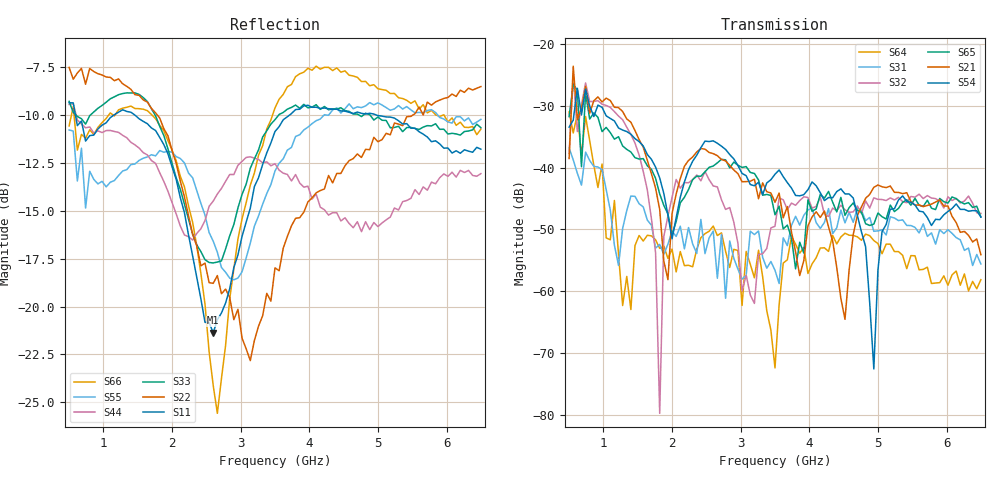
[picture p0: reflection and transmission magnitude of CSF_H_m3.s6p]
!Keysight Technologies,M9804A,MY58100912,A.14.10.03
!Date: Thursday, April 27, 2023 10:28:33
!Correction: S11(C  6-Port  )
!S12(C  6-Port  )
!S13(C  6-Port  )
!S14(C  6-Port  )
!S15(C  6-Port  )
!S16(C  6-Port  )
!S21(C  6-Port  )
!S22(C  6-Port  )
!S23(C  6-Port  )
!S24(C  6-Port  )
!S25(C  6-Port  )
!S26(C  6-Port  )
!S31(C  6-Port  )
!S32(C  6-Port  )
!S33(C  6-Port  )
!S34(C  6-Port  )
!S35(C  6-Port  )
!S36(C  6-Port  )
!S41(C  6-Port  )
!S42(C  6-Port  )
!S43(C  6-Port  )
!S44(C  6-Port  )
!S45(C  6-Port  )
!S46(C  6-Port  )
!S51(C  6-Port  )
!S52(C  6-Port  )
!S53(C  6-Port  )
!S54(C  6-Port  )
!S55(C  6-Port  )
!S56(C  6-Port  )
!S61(C  6-Port  )
!S62(C  6-Port  )
!S63(C  6-Port  )
!S64(C  6-Port  )
!S65(C  6-Port  )
!S66(C  6-Port  )
!S6P File: Measurement: :
# Hz S  RI  R 50
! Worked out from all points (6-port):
!   101 points, 500 MHz to 6.5 GHz, reference 50 ohm
!   strongest paths, dB at 500 MHz, 2 GHz, 3.5 GHz, 5 GHz, 6.5 GHz:
!     S54: -33.5, -51.5, -41.1, -56.6, -48.0
!     S21: -38.5, -47.4, -45.6, -42.8, -54.1
!     S65: -31.8, -50.8, -47.6, -47.4, -48.0
!     S32: -37.7, -44.8, -49.5, -45.1, -47.4
!     S31: -36.8, -50.3, -56.6, -50.2, -55.6
!     S64: -31.0, -53.2, -72.4, -52.3, -58.1
!   lowest |S11| = -21.4 dB at 2.6 GHz (marker M1), VSWR 1.19, Z = 42.4 + j2.24 ohm
!   |S11| at or under -10 dB: 592.7 MHz to 1.148 GHz (555.7 MHz wide, 63.8 % of centre); 1.462 GHz to 3.708 GHz (2.246 GHz wide, 86.9 % of centre); 4.986 GHz to end of sweep
